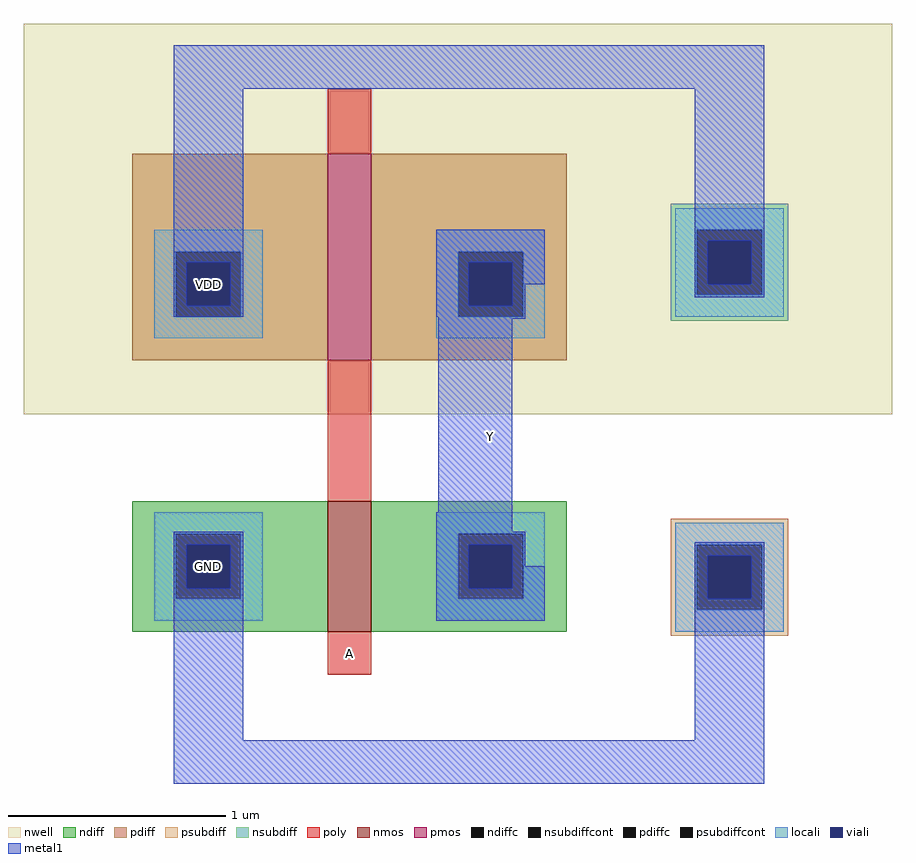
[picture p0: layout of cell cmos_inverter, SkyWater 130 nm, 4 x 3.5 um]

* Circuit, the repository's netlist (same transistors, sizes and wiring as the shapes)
* SKY130A CMOS inverter reference circuit

.subckt cmos_inverter VDD GND A Y
XMN Y A GND GND sky130_fd_pr__nfet_01v8 w=0.6 l=0.2
XMP Y A VDD VDD sky130_fd_pr__pfet_01v8 w=0.95 l=0.2
.ends cmos_inverter

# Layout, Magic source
magic
tech sky130A
<< nwell >>
rect 0 120 400 300
<< nmos >>
rect 140 20 160 80
<< pmos >>
rect 140 145 160 240
<< ndiff >>
rect 50 65 140 80
rect 50 35 70 65
rect 100 35 140 65
rect 50 20 140 35
rect 160 65 250 80
rect 160 35 200 65
rect 230 35 250 65
rect 160 20 250 35
<< pdiff >>
rect 50 195 140 240
rect 50 165 70 195
rect 100 165 140 195
rect 50 145 140 165
rect 160 195 250 240
rect 160 165 200 195
rect 230 165 250 195
rect 160 145 250 165
<< ndiffc >>
rect 70 35 100 65
rect 200 35 230 65
<< pdiffc >>
rect 70 165 100 195
rect 200 165 230 195
<< psubdiff >>
rect 298 60 352 72
rect 298 30 310 60
rect 340 30 352 60
rect 298 18 352 30
<< nsubdiff >>
rect 298 205 352 217
rect 298 175 310 205
rect 340 175 352 205
rect 298 163 352 175
<< psubdiffcont >>
rect 310 30 340 60
<< nsubdiffcont >>
rect 310 175 340 205
<< poly >>
rect 140 240 160 270
rect 140 80 160 145
rect 140 0 160 20
<< locali >>
rect 300 205 350 215
rect 60 195 110 205
rect 60 165 70 195
rect 100 165 110 195
rect 60 155 110 165
rect 190 195 240 205
rect 190 165 200 195
rect 230 165 240 195
rect 300 175 310 205
rect 340 175 350 205
rect 300 165 350 175
rect 190 155 240 165
rect 60 65 110 75
rect 60 35 70 65
rect 100 35 110 65
rect 60 25 110 35
rect 190 65 240 75
rect 190 35 200 65
rect 230 35 240 65
rect 190 25 240 35
rect 300 60 350 70
rect 300 30 310 60
rect 340 30 350 60
rect 300 20 350 30
<< viali >>
rect 75 170 95 190
rect 205 170 225 190
rect 315 180 335 200
rect 75 40 95 60
rect 205 40 225 60
rect 315 35 335 55
<< metal1 >>
rect 69 270 341 290
rect 69 190 101 270
rect 69 170 75 190
rect 95 170 101 190
rect 69 165 101 170
rect 190 190 240 205
rect 190 170 205 190
rect 225 180 240 190
rect 309 200 341 270
rect 309 180 315 200
rect 335 180 341 200
rect 225 170 231 180
rect 309 174 341 180
rect 190 165 231 170
rect 191 164 231 165
rect 191 75 225 164
rect 190 66 225 75
rect 69 60 101 66
rect 69 40 75 60
rect 95 40 101 60
rect 69 -30 101 40
rect 190 60 231 66
rect 190 40 205 60
rect 225 50 231 60
rect 309 55 341 61
rect 225 40 240 50
rect 190 25 240 40
rect 309 35 315 55
rect 335 35 341 55
rect 309 -30 341 35
rect 69 -50 341 -30
<< labels >>
rlabel metal1 75 170 95 190 0 VDD
port 1 nsew
rlabel metal1 75 40 95 60 0 GND
port 2 nsew
rlabel metal1 205 100 225 120 0 Y
port 4 nsew
rlabel poly 140 0 160 20 0 A
port 3 nsew
<< end >>
